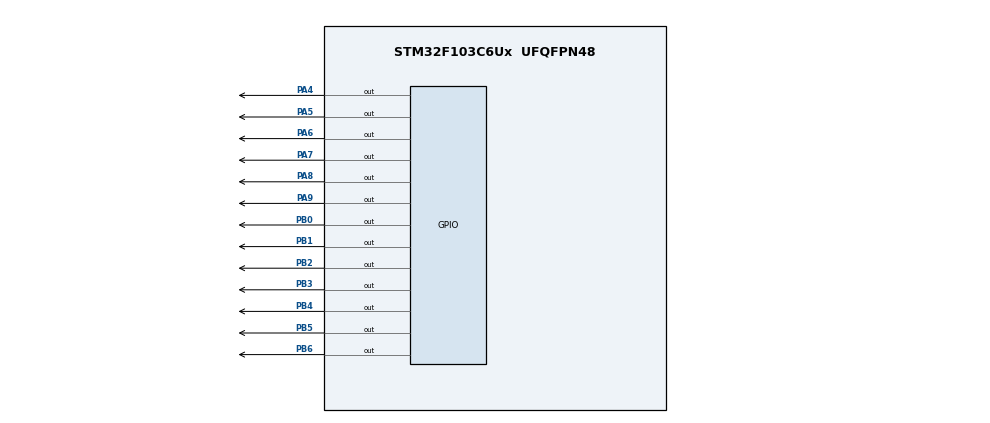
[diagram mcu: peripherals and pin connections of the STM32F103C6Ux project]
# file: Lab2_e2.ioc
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Mcu.Family=STM32F1
Mcu.Name=STM32F103C6Ux
Mcu.Package=UFQFPN48
NVIC.PriorityGroup=NVIC_PRIORITYGROUP_4
NVIC.TIM2_IRQn=true\:0\:0\:false\:false\:true\:true\:true
PA4.PinState=GPIO_PIN_SET
PA4.Signal=GPIO_Output
PA5.PinState=GPIO_PIN_SET
PA5.Signal=GPIO_Output
PA6.PinState=GPIO_PIN_SET
PA6.Signal=GPIO_Output
PA7.PinState=GPIO_PIN_SET
PA7.Signal=GPIO_Output
PA8.PinState=GPIO_PIN_SET
PA8.Signal=GPIO_Output
PA9.PinState=GPIO_PIN_SET
PA9.Signal=GPIO_Output
PB0.PinState=GPIO_PIN_SET
PB0.Signal=GPIO_Output
PB1.PinState=GPIO_PIN_SET
PB1.Signal=GPIO_Output
PB2.PinState=GPIO_PIN_SET
PB2.Signal=GPIO_Output
PB3.PinState=GPIO_PIN_SET
PB3.Signal=GPIO_Output
PB4.PinState=GPIO_PIN_SET
PB4.Signal=GPIO_Output
PB5.PinState=GPIO_PIN_SET
PB5.Signal=GPIO_Output
PB6.PinState=GPIO_PIN_SET
PB6.Signal=GPIO_Output
ProjectManager.HeapSize=0x200
ProjectManager.StackSize=0x400
ProjectManager.TargetToolchain=STM32CubeIDE
RCC.APB1Freq_Value=8000000
RCC.APB2Freq_Value=8000000
TIM2.Period=9
TIM2.Prescaler=7999
VP_SYS_VS_ND.Mode=No_Debug
VP_TIM2_VS_ClockSourceINT.Mode=Internal
board=custom

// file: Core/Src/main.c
/* USER CODE BEGIN Header */
/**
  ******************************************************************************
  * @file           : main.c
  * @brief          : Main program body
  ******************************************************************************
  * @attention
  *
  * <h2><center>&copy; Copyright (c) 2026 STMicroelectronics.
  * All rights reserved.</center></h2>
  *
  * This software component is licensed by ST under BSD 3-Clause license,
  * the "License"; You may not use this file except in compliance with the
  * License. You may obtain a copy of the License at:
  *                        opensource.org/licenses/BSD-3-Clause
  *
  ******************************************************************************
  */
/* USER CODE END Header */
#include "main.h"

/* USER CODE BEGIN PD */
#define SEG_A_PIN                  GPIO_PIN_0
#define SEG_B_PIN                  GPIO_PIN_1
#define SEG_C_PIN                  GPIO_PIN_2
#define SEG_D_PIN                  GPIO_PIN_3
#define SEG_E_PIN                  GPIO_PIN_4
#define SEG_F_PIN                  GPIO_PIN_5
#define SEG_G_PIN                  GPIO_PIN_6
#define SEGMENT_GPIO_PORT          GPIOB

#define SEGMENT_PINS              (SEG_A_PIN | SEG_B_PIN | SEG_C_PIN | \
                                   SEG_D_PIN | SEG_E_PIN | SEG_F_PIN | \
                                   SEG_G_PIN)

#define EN0_PIN                    GPIO_PIN_6
#define EN1_PIN                    GPIO_PIN_7
#define EN2_PIN                    GPIO_PIN_8
#define EN3_PIN                    GPIO_PIN_9
#define DIGIT_ENABLE_GPIO_PORT     GPIOA

#define DIGIT_ENABLE_PINS         (EN0_PIN | EN1_PIN | EN2_PIN | EN3_PIN)

#define DOT_PIN                    GPIO_PIN_4
#define DOT_GPIO_PORT              GPIOA

#define AUX_LED_PIN                GPIO_PIN_5
#define AUX_LED_GPIO_PORT          GPIOA

#define MAX_DIGITS                 4U

#define DIGIT_SLOT_TICKS           50U
#define DOT_TOGGLE_TICKS           100U
/* USER CODE END PD */

TIM_HandleTypeDef htim2;

/* USER CODE BEGIN PV */
static volatile uint16_t digit_tick_count = 0U;
static volatile uint16_t dot_tick_count = 0U;
static volatile uint8_t active_digit = 0U;

/* Exercise 2 must display 12:30. */
static const uint8_t display_buffer[MAX_DIGITS] =
{
  1U, 2U, 3U, 0U
};
/* USER CODE END PV */

void SystemClock_Config(void);
static void MX_GPIO_Init(void);
static void MX_TIM2_Init(void);

/* USER CODE BEGIN 0 */
static void disableAllDigits(void)
{
  /*
   * The four PNP high-side drivers are active-low:
   *
   * HIGH = digit disabled
   * LOW  = digit enabled
   */
  HAL_GPIO_WritePin(DIGIT_ENABLE_GPIO_PORT,
                    DIGIT_ENABLE_PINS,
                    GPIO_PIN_SET);
}

static void selectDigit(uint8_t index)
{
  static const uint16_t enable_pins[MAX_DIGITS] =
  {
    EN0_PIN,
    EN1_PIN,
    EN2_PIN,
    EN3_PIN
  };

  if (index < MAX_DIGITS)
  {
    /*
     * Only the requested digit is enabled.
     * disableAllDigits() must be called before this function.
     */
    HAL_GPIO_WritePin(DIGIT_ENABLE_GPIO_PORT,
                      enable_pins[index],
                      GPIO_PIN_RESET);
  }
}

void display7SEG(int num)
{
  static const uint16_t digit_pattern[10] =
  {
    0x3FU,
    0x06U,
    0x5BU,
    0x4FU,
    0x66U,
    0x6DU,
    0x7DU,
    0x07U,
    0x7FU,
    0x6FU
  };

  uint16_t on_pins;
  uint16_t off_pins;

  if ((num < 0) || (num > 9))
  {
    /* Invalid input: switch all segments off. */
    HAL_GPIO_WritePin(SEGMENT_GPIO_PORT,
                      SEGMENT_PINS,
                      GPIO_PIN_SET);
    return;
  }

  on_pins = digit_pattern[num] & SEGMENT_PINS;
  off_pins = SEGMENT_PINS & (uint16_t)(~on_pins);

  SEGMENT_GPIO_PORT->BSRR =
      (uint32_t)off_pins |
      ((uint32_t)on_pins << 16U);
}

static void updateCurrentDigit(void)
{
  disableAllDigits();
  display7SEG(display_buffer[active_digit]);
  selectDigit(active_digit);
}
/* USER CODE END 0 */

int main(void)
{

  /* MCU Configuration--------------------------------------------------------*/

  /* Reset of all peripherals, Initializes the Flash interface and the Systick. */
  HAL_Init();

  /* Configure the system clock */
  SystemClock_Config();

  /* Initialize all configured peripherals */
  MX_GPIO_Init();
  MX_TIM2_Init();
  /* USER CODE BEGIN 2 */
  /* Reset the software counters. */
  digit_tick_count = 0U;
  dot_tick_count = 0U;
  active_digit = 0U;

  /* Keep the unused D1 LED off. */
  HAL_GPIO_WritePin(AUX_LED_GPIO_PORT,
                    AUX_LED_PIN,
                    GPIO_PIN_SET);

  /* Start with both middle DOT LEDs off. */
  HAL_GPIO_WritePin(DOT_GPIO_PORT,
                    DOT_PIN,
                    GPIO_PIN_SET);

  /* Start with the first display showing number 1. */
  disableAllDigits();
  display7SEG(display_buffer[active_digit]);
  selectDigit(active_digit);

  /* Start the 10 ms TIM2 interrupt. */
  if (HAL_TIM_Base_Start_IT(&htim2) != HAL_OK)
  {
    Error_Handler();
  }
  /* USER CODE END 2 */

  /* Infinite loop */
  while (1)
  {

  }
}

void SystemClock_Config(void)
{
  RCC_OscInitTypeDef RCC_OscInitStruct = {0};
  RCC_ClkInitTypeDef RCC_ClkInitStruct = {0};

  /** Initializes the RCC Oscillators according to the specified parameters
  * in the RCC_OscInitTypeDef structure.
  */
  RCC_OscInitStruct.OscillatorType = RCC_OSCILLATORTYPE_HSI;
  RCC_OscInitStruct.HSIState = RCC_HSI_ON;
  RCC_OscInitStruct.HSICalibrationValue = RCC_HSICALIBRATION_DEFAULT;
  RCC_OscInitStruct.PLL.PLLState = RCC_PLL_NONE;
  if (HAL_RCC_OscConfig(&RCC_OscInitStruct) != HAL_OK)
  {
    Error_Handler();
  }
  /** Initializes the CPU, AHB and APB buses clocks
  */
  RCC_ClkInitStruct.ClockType = RCC_CLOCKTYPE_HCLK|RCC_CLOCKTYPE_SYSCLK
                              |RCC_CLOCKTYPE_PCLK1|RCC_CLOCKTYPE_PCLK2;
  RCC_ClkInitStruct.SYSCLKSource = RCC_SYSCLKSOURCE_HSI;
  RCC_ClkInitStruct.AHBCLKDivider = RCC_SYSCLK_DIV1;
  RCC_ClkInitStruct.APB1CLKDivider = RCC_HCLK_DIV1;
  RCC_ClkInitStruct.APB2CLKDivider = RCC_HCLK_DIV1;

  if (HAL_RCC_ClockConfig(&RCC_ClkInitStruct, FLASH_LATENCY_0) != HAL_OK)
  {
    Error_Handler();
  }
}

static void MX_TIM2_Init(void)
{

  TIM_ClockConfigTypeDef sClockSourceConfig = {0};
  TIM_MasterConfigTypeDef sMasterConfig = {0};

  htim2.Instance = TIM2;
  htim2.Init.Prescaler = 7999;
  htim2.Init.CounterMode = TIM_COUNTERMODE_UP;
  htim2.Init.Period = 9;
  htim2.Init.ClockDivision = TIM_CLOCKDIVISION_DIV1;
  htim2.Init.AutoReloadPreload = TIM_AUTORELOAD_PRELOAD_DISABLE;
  if (HAL_TIM_Base_Init(&htim2) != HAL_OK)
  {
    Error_Handler();
  }
  sClockSourceConfig.ClockSource = TIM_CLOCKSOURCE_INTERNAL;
  if (HAL_TIM_ConfigClockSource(&htim2, &sClockSourceConfig) != HAL_OK)
  {
    Error_Handler();
  }
  sMasterConfig.MasterOutputTrigger = TIM_TRGO_RESET;
  sMasterConfig.MasterSlaveMode = TIM_MASTERSLAVEMODE_DISABLE;
  if (HAL_TIMEx_MasterConfigSynchronization(&htim2, &sMasterConfig) != HAL_OK)
  {
    Error_Handler();
  }

}

static void MX_GPIO_Init(void)
{
  GPIO_InitTypeDef GPIO_InitStruct = {0};

  /* GPIO Ports Clock Enable */
  __HAL_RCC_GPIOA_CLK_ENABLE();
  __HAL_RCC_GPIOB_CLK_ENABLE();

  /*Configure GPIO pin Output Level */
  HAL_GPIO_WritePin(GPIOA, GPIO_PIN_4|GPIO_PIN_5|GPIO_PIN_6|GPIO_PIN_7
                          |GPIO_PIN_8|GPIO_PIN_9, GPIO_PIN_SET);

  /*Configure GPIO pin Output Level */
  HAL_GPIO_WritePin(GPIOB, GPIO_PIN_0|GPIO_PIN_1|GPIO_PIN_2|GPIO_PIN_3
                          |GPIO_PIN_4|GPIO_PIN_5|GPIO_PIN_6, GPIO_PIN_SET);

  /*Configure GPIO pins : PA4 PA5 PA6 PA7
                           PA8 PA9 */
  GPIO_InitStruct.Pin = GPIO_PIN_4|GPIO_PIN_5|GPIO_PIN_6|GPIO_PIN_7
                          |GPIO_PIN_8|GPIO_PIN_9;
  GPIO_InitStruct.Mode = GPIO_MODE_OUTPUT_PP;
  GPIO_InitStruct.Pull = GPIO_NOPULL;
  GPIO_InitStruct.Speed = GPIO_SPEED_FREQ_LOW;
  HAL_GPIO_Init(GPIOA, &GPIO_InitStruct);

  /*Configure GPIO pins : PB0 PB1 PB2 PB3
                           PB4 PB5 PB6 */
  GPIO_InitStruct.Pin = GPIO_PIN_0|GPIO_PIN_1|GPIO_PIN_2|GPIO_PIN_3
                          |GPIO_PIN_4|GPIO_PIN_5|GPIO_PIN_6;
  GPIO_InitStruct.Mode = GPIO_MODE_OUTPUT_PP;
  GPIO_InitStruct.Pull = GPIO_NOPULL;
  GPIO_InitStruct.Speed = GPIO_SPEED_FREQ_LOW;
  HAL_GPIO_Init(GPIOB, &GPIO_InitStruct);

}

/* USER CODE BEGIN 4 */
void HAL_TIM_PeriodElapsedCallback(TIM_HandleTypeDef *htim)
{
  /* Ignore interrupts generated by other timer peripherals. */
  if (htim->Instance != TIM2)
  {
    return;
  }

  digit_tick_count++;
  dot_tick_count++;

  if (digit_tick_count >= DIGIT_SLOT_TICKS)
  {
    digit_tick_count = 0U;

    active_digit++;

    if (active_digit >= MAX_DIGITS)
    {
      active_digit = 0U;
    }

    updateCurrentDigit();
  }

  if (dot_tick_count >= DOT_TOGGLE_TICKS)
  {
    dot_tick_count = 0U;

    HAL_GPIO_TogglePin(DOT_GPIO_PORT,
                       DOT_PIN);
  }
}
/* USER CODE END 4 */

void Error_Handler(void)
{
  __disable_irq();
  while (1)
  {
  }
}

/************************ (C) COPYRIGHT STMicroelectronics *****END OF FILE****/
